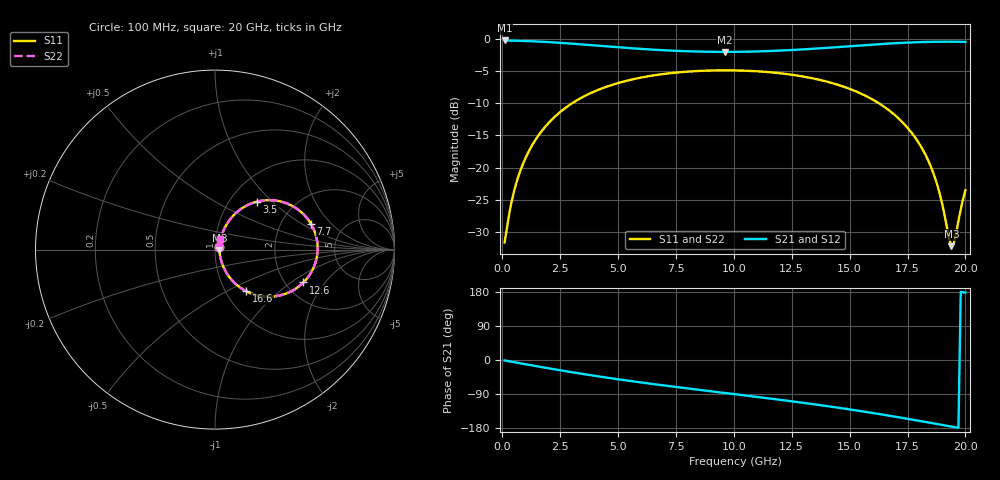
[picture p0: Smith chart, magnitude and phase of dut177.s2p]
! Touchstone file exported from HFSS 2026.1.0
!  File:  C:/ffzhzh/LocalFiles/Ansys_Project_Files/temp_train_TSV_RDL_177_1783056463_45820.aedt
!  Generated:  01:42:34 PM Jul  3, 2026
!  Design:  TSV_RDL
!  Project:  temp_train_TSV_RDL_177_1783056463_45820
! Variables:
!  h_bsmrdl = 2.56um
!  h_ox = 20um
!  h_rdl = 5um
!  h_sub = 73.28um
!  h_tmrdl = 4.29um
!  h_tsv = 73.28um
!  h_via = 3um
!  l_bsmrdl = 614.96um
!  l_sub = 2988.36um
!  l_tmrdl = 153.95um
!  m_sub = 200um
!  pitch = 52.9um
!  r_tsv = 2.32um
!  s_tmrdl = 10um
!  w_bsmrdl = 28.69um
!  w_sub = 500um
!  w_tmrdl = 13.87um
!  x_tsv_center1 = 160.885um
!  x_tsv_center2 = 804.535um
!  x_tsv_center3 = 972.355um
!  x_tsv_center4 = 1616.005um
!  x_tsv_center5 = 1783.825um
!  x_tsv_center6 = 2427.475um
# GHz S MA R 50.000000
! Terminal data exported
! Port[1] = TM_RDL1_1_T1
! Port[2] = TM_RDL5_1_T1
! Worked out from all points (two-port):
!   200 points, 100 MHz to 20 GHz, reference 50 ohm
!   highest |S21| = -0.20 dB at 100 MHz (marker M1); lowest = -2.0 dB at 9.6 GHz (marker M2)
!   |S21| within 3 dB of the highest: start of sweep to end of sweep
!   lowest |S11| = -32.2 dB at 19.4 GHz (marker M3), VSWR 1.05, Z = 52.5 - j0.146 ohm
!   |S11| at or under -10 dB: start of sweep to 3.008 GHz; 16.27 GHz to end of sweep
!   |S22| runs from -32.2 to -4.9 dB; largest |S21 - S12| = 1.7e-14
!   S11 on the Smith chart (normalised r, x): 100 MHz: 1.05, +0.03; 3.5 GHz: 1.33, +0.82; 7.7 GHz: 2.92, +1.21; 12.6 GHz: 2.49, -1.26; 16.6 GHz: 1.24, -0.63; 20 GHz: 1.05, +0.13
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0.1  0.02616 27.2  0.9769 -1.2  0.9769 -1.2  0.02616 27.2
! Gamma 0 0 0 0
! Port Impedance 50 0 50 0
0.4  0.05405 58.3  0.9742 -4.6  0.9742 -4.6  0.05405 58.3
0.6  0.07528 63.5  0.9721 -6.8  0.9721 -6.8  0.07528 63.5
1.2  0.1398 65.8  0.9641 -13.4  0.9641 -13.4  0.1398 65.8
2.2  0.2424 59.7  0.9439 -24.1  0.9439 -24.1  0.2424 59.7
3.5  0.3563 48.7  0.9082 -37.1  0.9082 -37.1  0.3563 48.7
5  0.4553 36.0  0.8646 -50.9  0.8646 -50.9  0.4552 36.0
6.8  0.5308 21.8  0.8226 -65.8  0.8226 -65.8  0.5308 21.8
7.7  0.5533 15.1  0.8084 -72.7  0.8084 -72.7  0.5533 15.1
9.6  0.572 1.5  0.796 -86.9  0.796 -86.9  0.572 1.5
10.1  0.5708 -2.1  0.7968 -90.6  0.7968 -90.6  0.5708 -2.1
12.6  0.5254 -20.4  0.8246 -109.8  0.8246 -109.8  0.5254 -20.4
13.4  0.4957 -26.6  0.8411 -116.3  0.8411 -116.3  0.4956 -26.6
15.2  0.3971 -41.3  0.8862 -132.2  0.8862 -132.2  0.3971 -41.3
16.6  0.2882 -53.3  0.9218 -145.9  0.9218 -145.9  0.2881 -53.3
16.7  0.2793 -54.1  0.9241 -146.9  0.9241 -146.9  0.2793 -54.1
17.7  0.1845 -61.7  0.9435 -157.3  0.9435 -157.3  0.1845 -61.7
18.4  0.113 -64.2  0.9521 -164.8  0.9521 -164.8  0.113 -64.1
18.9  0.06175 -58.7  0.9552 -170.3  0.9552 -170.3  0.06179 -58.6
19.4  0.02445 -3.3  0.9555 -175.7  0.9555 -175.7  0.02459 -3.2
19.5  0.02569 20.5  0.9552 -176.8  0.9552 -176.8  0.02583 20.4
20  0.06671 65.0  0.9522 177.7  0.9522 177.7  0.06678 64.9
